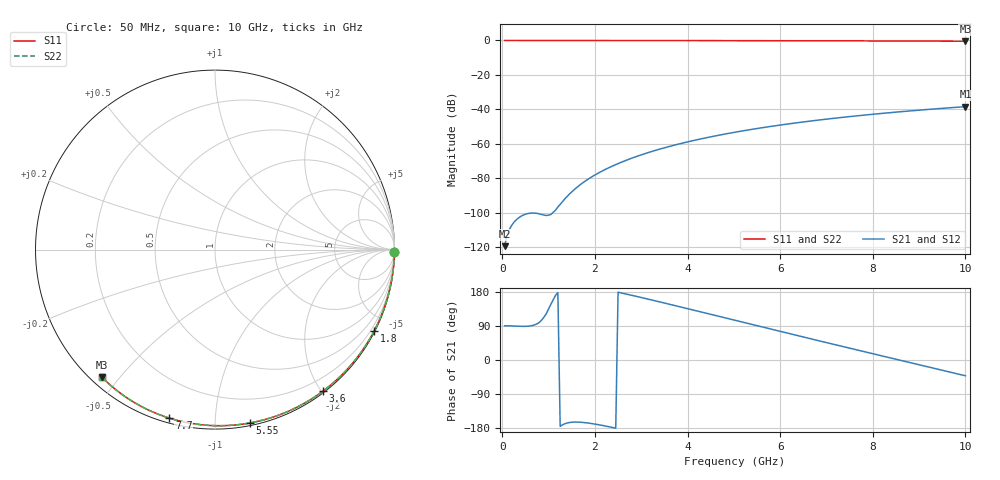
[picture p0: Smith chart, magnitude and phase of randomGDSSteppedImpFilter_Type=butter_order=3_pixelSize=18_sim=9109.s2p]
! freq	dB(S11)	phase(S11)	dB(S12)	phase(S12)
!  dB(S21)	phase(S21)	dB(S22)	phase(S22)
!S-par simulation data
#  GHz  S  DB  R 50
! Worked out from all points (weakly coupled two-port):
!   200 points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, 50 MHz to 10 GHz, reference 50 ohm
!   highest |S21| = -38.40 dB at 10 GHz (marker M1); lowest = -119.3 dB at 50 MHz (marker M2)
!   lowest |S11| = -0.4 dB at 10 GHz (marker M3), VSWR 38.86, Z = 1.55 - j22.5 ohm
!   |S11| at or under -10 dB: nowhere
!   |S22| runs from -0.4 to 0.0 dB; largest |S21 - S12| = 0
!   S11 on the Smith chart (normalised r, x): 50 MHz: open; 1.8 GHz: 0.04, -4.17; 3.6 GHz: 0.02, -2.02; 5.55 GHz: 0.02, -1.22; 7.7 GHz: 0.02, -0.77; 10 GHz: 0.03, -0.45
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0.05  -0.00 -0.8  -119.34 90.2  -119.34 90.2  -0.00 -0.8
0.9  -0.02 -13.6  -101.31 113.1  -101.31 113.1  -0.02 -13.6
1.75  -0.03 -26.2  -82.35 -164.9  -82.35 -164.9  -0.03 -26.2
1.8  -0.03 -27.0  -81.41 -165.6  -81.41 -165.6  -0.03 -27.0
1.85  -0.04 -27.7  -80.52 -166.3  -80.52 -166.3  -0.04 -27.7
1.9  -0.04 -28.4  -79.66 -167.2  -79.66 -167.2  -0.04 -28.4
2.05  -0.04 -30.6  -77.28 -170.1  -77.28 -170.1  -0.04 -30.6
2.25  -0.04 -33.5  -74.48 -174.7  -74.48 -174.7  -0.04 -33.5
2.45  -0.05 -36.4  -72.00 -179.8  -72.00 -179.8  -0.05 -36.4
2.65  -0.05 -39.3  -69.78 174.8  -69.78 174.8  -0.05 -39.3
3  -0.06 -44.3  -66.37 165.0  -66.37 165.0  -0.06 -44.3
3.4  -0.07 -49.9  -63.03 153.3  -63.03 153.3  -0.07 -49.9
3.6  -0.07 -52.7  -61.54 147.4  -61.54 147.4  -0.07 -52.7
4.3  -0.09 -62.3  -57.03 126.5  -57.03 126.5  -0.09 -62.3
5.05  -0.11 -72.2  -53.11 104.0  -53.11 104.0  -0.11 -72.2
5.55  -0.13 -78.7  -50.88 89.0  -50.88 89.0  -0.13 -78.7
6.1  -0.15 -85.7  -48.70 72.6  -48.70 72.6  -0.15 -85.7
6.7  -0.18 -93.1  -46.60 54.8  -46.60 54.8  -0.18 -93.1
7.7  -0.24 -105.1  -43.61 25.3  -43.61 25.3  -0.24 -105.1
8.35  -0.29 -112.7  -41.93 6.4  -41.93 6.4  -0.29 -112.7
9.15  -0.36 -121.9  -40.10 -16.8  -40.10 -16.8  -0.36 -121.9
10  -0.45 -131.5  -38.40 -41.6  -38.40 -41.6  -0.45 -131.5
